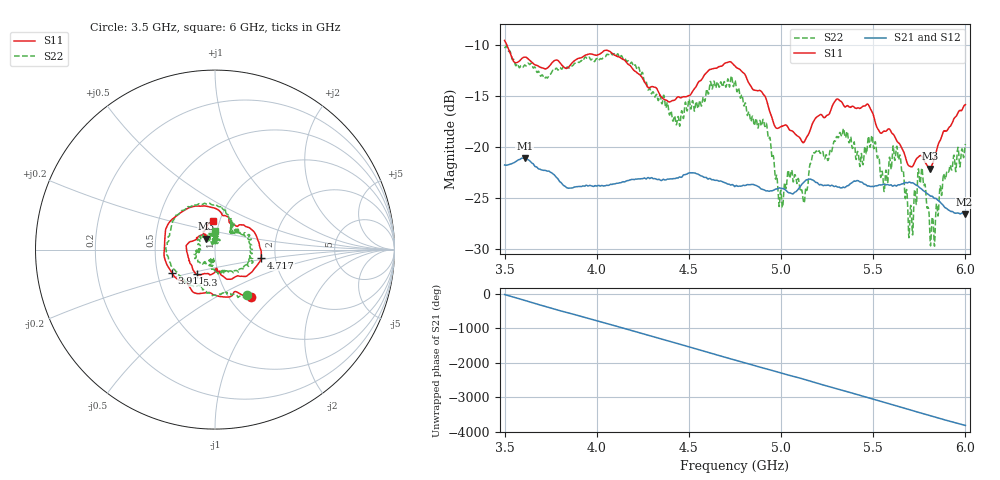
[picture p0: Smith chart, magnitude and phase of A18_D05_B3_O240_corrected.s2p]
! Created with skrf 1.9.0 (http://scikit-rf.org).
# Hz S RI R 50.0
!freq ReS11 ImS11 ReS21 ImS21 ReS12 ImS12 ReS22 ImS22
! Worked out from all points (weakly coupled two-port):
!   1601 points, 3.5 GHz to 6 GHz, reference 50 ohm
!   highest |S21| = -21.09 dB at 3.609 GHz (marker M1); lowest = -26.6 dB at 5.995 GHz (marker M2)
!   lowest |S11| = -22.1 dB at 5.808 GHz (marker M3), VSWR 1.17, Z = 45.1 + j5.61 ohm
!   |S11| at or under -10 dB: 3.512 GHz to end of sweep
!   |S22| runs from -29.8 to -10.1 dB; largest |S21 - S12| = 0.00092
!   S11 on the Smith chart (normalised r, x): 3.5 GHz: 1.26, -0.75; 3.911 GHz: 0.60, -0.17; 4.717 GHz: 1.68, -0.16; 5.3 GHz: 0.79, -0.23; 6 GHz: 0.93, +0.31
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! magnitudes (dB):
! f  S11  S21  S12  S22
! 3.5 GHz  -9.6  -21.8  -21.8  -10.2
! 3.609 GHz  -11.2  -21.1  -21.1  -12.0
! 3.911 GHz  -11.3  -23.9  -23.9  -11.6
! 3.917 GHz  -11.2  -23.9  -23.9  -11.5
! 4.125 GHz  -11.2  -23.5  -23.5  -11.2
! 4.334 GHz  -14.6  -23.2  -23.1  -15.5
! 4.441 GHz  -15.1  -23.1  -23.0  -17.0
! 4.717 GHz  -11.7  -23.7  -23.7  -13.9
! 4.75 GHz  -12.1  -23.9  -23.8  -13.5
! 4.914 GHz  -15.1  -24.3  -24.3  -18.0
! 4.998 GHz  -18.0  -24.1  -24.1  -24.3
! 5.048 GHz  -18.4  -24.5  -24.5  -23.1
! 5.13 GHz  -19.4  -23.4  -23.4  -24.8
! 5.167 GHz  -17.9  -23.3  -23.2  -21.2
! 5.3 GHz  -15.3  -23.9  -23.8  -19.0
! 5.584 GHz  -18.2  -23.8  -23.7  -21.8
! 5.638 GHz  -19.6  -23.7  -23.7  -21.3
! 5.703 GHz  -21.9  -23.5  -23.5  -25.8
! 5.756 GHz  -20.9  -24.1  -24.0  -23.5
! 5.808 GHz  -22.1  -24.8  -24.8  -28.8
! 5.995 GHz  -15.9  -26.6  -26.5  -20.4
! 6 GHz  -15.9  -26.6  -26.5  -19.7
